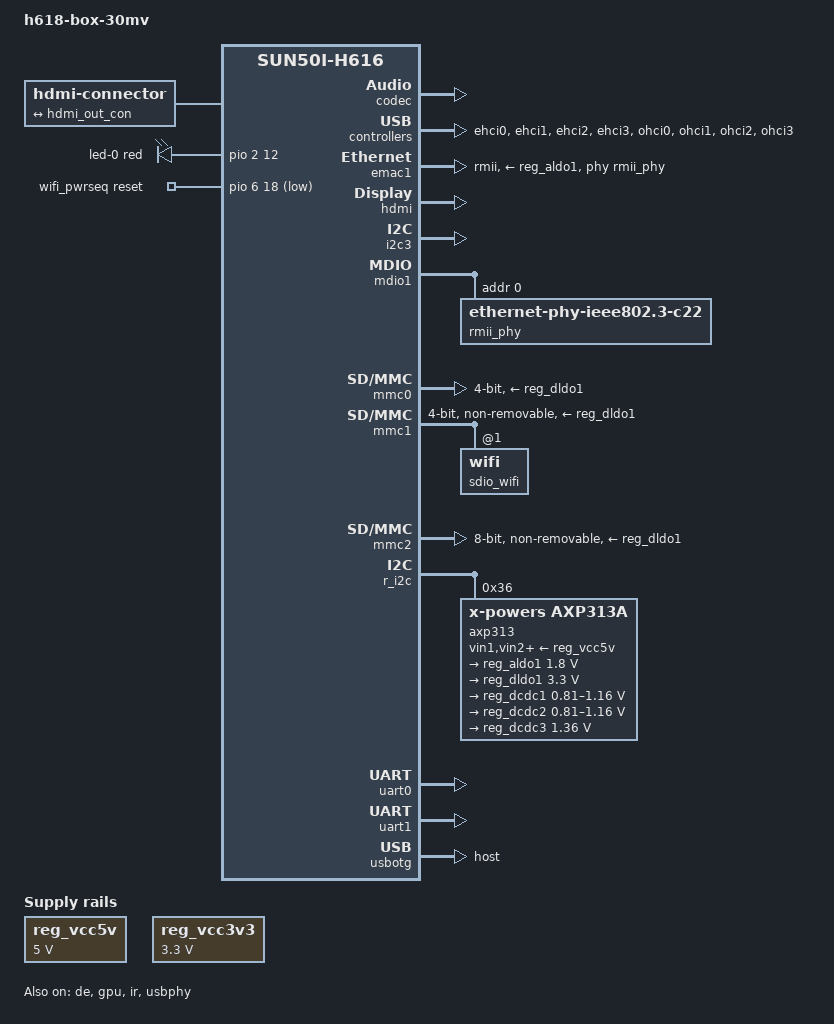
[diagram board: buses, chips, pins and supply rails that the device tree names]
// SPDX-License-Identifier: (GPL-2.0+ OR MIT)
/*
 * Copyright (C) 2026 hexdump0815
 * Author: hexdump0815@gmail.com
 * Based on: sun50i-h618-transpeed-8k618-t.dts
 */

/dts-v1/;

#include "sun50i-h616.dtsi"
#include "sun50i-h61x-30mv-cpu-opp.dtsi"

#include <dt-bindings/gpio/gpio.h>
#include <dt-bindings/interrupt-controller/arm-gic.h>
#include <dt-bindings/leds/common.h>

/ {
	model = "h618-box-30mv";
	compatible = "h618,box-30mv", "allwinner,sun50i-h618", "allwinner,sun50i-h616";

	aliases {
		mmc0 = &mmc0;
		mmc2 = &mmc2;
		ethernet0 = &emac1;
//		ethernet1 = &sdio_wifi;
		serial0 = &uart0;
	};

	chosen {
		stdout-path = "serial0:115200n8";
	};

	connector {
		compatible = "hdmi-connector";
		type = "d";

		port {
			hdmi_con_in: endpoint {
				remote-endpoint = <&hdmi_out_con>;
			};
		};
	};

	leds {
		compatible = "gpio-leds";

		led-0 {
			function = LED_FUNCTION_POWER;
			color = <LED_COLOR_ID_RED>;
			gpios = <&pio 2 12 GPIO_ACTIVE_HIGH>; /* PC12 */
			default-state = "on";
		};
	};

	reg_vcc5v: vcc5v {
		/* board wide 5V supply directly from the DC input */
		compatible = "regulator-fixed";
		regulator-name = "vcc-5v";
		regulator-min-microvolt = <5000000>;
		regulator-max-microvolt = <5000000>;
		regulator-always-on;
	};

	reg_vcc3v3: vcc3v3 {
		/* discrete 3.3V regulator */
		compatible = "regulator-fixed";
		regulator-name = "vcc-3v3";
		regulator-min-microvolt = <3300000>;
		regulator-max-microvolt = <3300000>;
		regulator-always-on;
	};

	wifi_pwrseq: pwrseq {
		compatible = "mmc-pwrseq-simple";
		clocks = <&rtc CLK_OSC32K_FANOUT>;
		clock-names = "ext_clock";
		pinctrl-0 = <&x32clk_fanout_pin>;
		pinctrl-names = "default";
		reset-gpios = <&pio 6 18 GPIO_ACTIVE_LOW>; /* PG18 */
	};

//	reg_vcc_wifi: reg_vcc_wifi {
//		compatible = "regulator-fixed";
//		regulator-name = "vcc-wifi";
//		regulator-min-microvolt = <3300000>;
//		regulator-max-microvolt = <3300000>;
//		gpio = <&pio 6 18 GPIO_ACTIVE_HIGH>; /* PG18 WL_REG_ON */
//		regulator-always-on;
//		enable-active-high;
//		status = "okay";
//	};

//	reg_usb1_vbus: usb1-vbus {
//		compatible = "regulator-fixed";
//		regulator-name = "usb1-vbus";
//		regulator-min-microvolt = <5000000>;
//		regulator-max-microvolt = <5000000>;
//		vin-supply = <&reg_vcc5v>;
//		enable-active-high;
//		/* gpio = <&pio 2 16 GPIO_ACTIVE_HIGH>; PC16 */
//		status = "okay";
//	};

//	wifi_pwrseq: wifi_pwrseq {
//		compatible = "mmc-pwrseq-simple";
//		post-power-on-delay-ms = <200>;
//	};

};

&codec {
	allwinner,audio-routing = "Line Out", "LINEOUT";
	status = "okay";
};

&cpu0 {
	cpu-supply = <&reg_dcdc2>;
// check
//	status = "okay";
};

&de {
	status = "okay";
};

&ehci0 {
	status = "okay";
};

&ehci1 {
	status = "okay";
};

// check
&ehci2 {
	status = "okay";
};

// check
&ehci3 {
	status = "okay";
};

&emac1 {
	pinctrl-names = "default";
	pinctrl-0 = <&rmii_pins>;
	phy-mode = "rmii";
	phy-handle = <&rmii_phy>;
	phy-supply = <&reg_aldo1>;
	allwinner,rx-delay-ps = <3100>;
	allwinner,tx-delay-ps = <700>;
	status = "okay";
};

&hdmi {
	hvcc-supply = <&reg_aldo1>;
	status = "okay";
};

&hdmi_out {
	hdmi_out_con: endpoint {
		remote-endpoint = <&hdmi_con_in>;
	};
};

&gpu {
	mali-supply = <&reg_dcdc1>;
	status = "okay";
};

&i2c3 {
	status = "okay";
};

&ir {
	status = "okay";
};

&mdio1 {
	rmii_phy: ethernet-phy@0 {
		compatible = "ethernet-phy-ieee802.3-c22";
		reg = <0>;
	};
};

&mmc0 {
	vmmc-supply = <&reg_dldo1>;
// as the card detect gpio varies across disks lets just ignore it
//	cd-gpios = <&pio 8 16 GPIO_ACTIVE_LOW>;	/* PI16 */
	broken-cd;
	disable-wp;
	bus-width = <4>;
	status = "okay";
};

&mmc1 {
	vmmc-supply = <&reg_dldo1>;
	vqmmc-supply = <&reg_aldo1>;
	mmc-pwrseq = <&wifi_pwrseq>;
	bus-width = <4>;
	non-removable;
	status = "okay";

	sdio_wifi: wifi@1 {
		reg = <1>;
	};
};

&mmc2 {
	vmmc-supply = <&reg_dldo1>;
	vqmmc-supply = <&reg_aldo1>;
	bus-width = <8>;
	non-removable;
	cap-mmc-hw-reset;
// the below line can most probably be dropped for most generic boxes
	max-frequency = <25000000>;
// check
//	mmc-ddr-1_8v;
//	mmc-hs200-1_8v;
	status = "okay";
};

&ohci0 {
	status = "okay";
};

&ohci1 {
	status = "okay";
};

// check
&ohci2 {
	status = "okay";
};

// check
&ohci3 {
	status = "okay";
};

&r_i2c {
	status = "okay";

	axp313: pmic@36 {
		compatible = "x-powers,axp313a";
		reg = <0x36>;
		#interrupt-cells = <1>;
		interrupt-controller;

		vin1-supply = <&reg_vcc5v>;
		vin2-supply = <&reg_vcc5v>;
		vin3-supply = <&reg_vcc5v>;

		regulators {
			reg_aldo1: aldo1 {
				regulator-always-on;
				regulator-min-microvolt = <1800000>;
				regulator-max-microvolt = <1800000>;
				regulator-name = "vcc-1v8-pll";
			};

			reg_dldo1: dldo1 {
				regulator-always-on;
				regulator-min-microvolt = <3300000>;
				regulator-max-microvolt = <3300000>;
				regulator-name = "vcc-3v3-io-mmc";
			};

			reg_dcdc1: dcdc1 {
				regulator-always-on;
				regulator-min-microvolt = <810000>;
				regulator-max-microvolt = <1160000>;
				regulator-name = "vdd-gpu-sys";
			};

			reg_dcdc2: dcdc2 {
				regulator-always-on;
				regulator-min-microvolt = <810000>;
				regulator-max-microvolt = <1160000>;
				regulator-name = "vdd-cpu";
			};

			reg_dcdc3: dcdc3 {
				regulator-always-on;
				regulator-min-microvolt = <1360000>;
				regulator-max-microvolt = <1360000>;
				regulator-name = "vdd-dram";
			};
		};
	};
};

&pio {
	vcc-pc-supply = <&reg_aldo1>;
	vcc-pg-supply = <&reg_dldo1>;
	vcc-ph-supply = <&reg_dldo1>;
	vcc-pi-supply = <&reg_dldo1>;
};

&uart0 {
	pinctrl-names = "default";
	pinctrl-0 = <&uart0_ph_pins>;
	status = "okay";
};

&uart1 {
	pinctrl-names = "default";
	pinctrl-0 = <&uart1_pins>, <&uart1_rts_cts_pins>;
	uart-has-rtscts;
	status = "okay";

// check
//	bluetooth {
//		compatible = "brcm,bcm43438-bt";
//		clocks = <&rtc 1>;
//		clock-names = "lpo";
//		vbat-supply = <&reg_dldo1>;
//		vddio-supply = <&reg_dldo1>;
//		device-wakeup-gpios = <&r_pio 0 6 GPIO_ACTIVE_HIGH>; /* PL6 */
//		host-wakeup-gpios = <&r_pio 0 5 GPIO_ACTIVE_HIGH>; /* PL5 */
//		shutdown-gpios = <&r_pio 0 4 GPIO_ACTIVE_HIGH>; /* PL4 */
//	};
};

&usbotg {
	dr_mode = "host";	/* USB A type receptable */
	status = "okay";
};

&usbphy {
	status = "okay";
};
